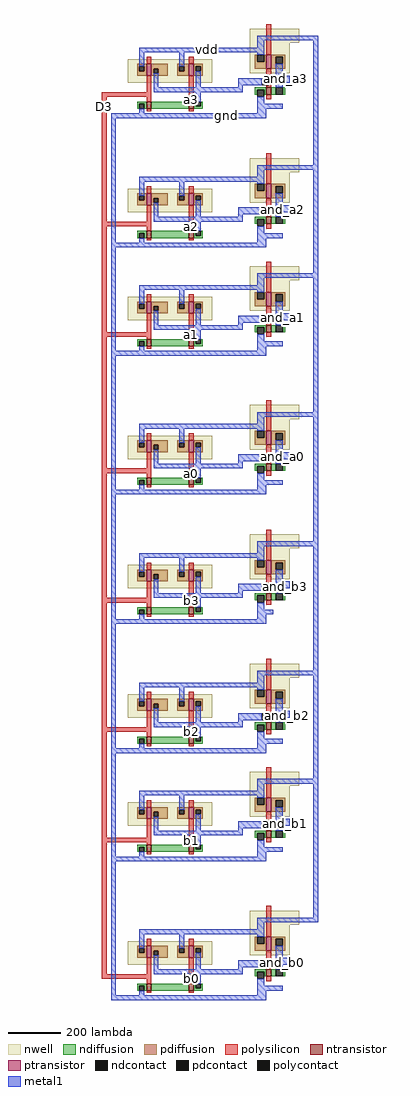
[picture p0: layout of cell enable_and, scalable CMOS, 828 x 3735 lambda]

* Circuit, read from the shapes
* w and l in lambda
.subckt enable_and D3 a0 a1 a2 a3 and_a0 and_a1 and_a2 and_a3 and_b0 and_b1 and_b2 and_b3 b0 b1 b2 b3 gnd vdd
M1 n1 D3 gnd VSUBS nfet w=27 l=18
M2 n2 D3 gnd VSUBS nfet w=27 l=18
M3 n3 D3 gnd VSUBS nfet w=27 l=18
M4 n4 D3 gnd VSUBS nfet w=27 l=18
M5 n5 D3 gnd VSUBS nfet w=27 l=18
M6 n6 D3 gnd VSUBS nfet w=27 l=18
M7 n7 D3 gnd VSUBS nfet w=27 l=18
M8 n8 D3 gnd VSUBS nfet w=27 l=18
M9 n9 b0 n1 VSUBS nfet w=27 l=18
M10 n10 b1 n2 VSUBS nfet w=27 l=18
M11 n11 b2 n3 VSUBS nfet w=27 l=18
M12 n12 b3 n4 VSUBS nfet w=27 l=18
M13 n13 a0 n5 VSUBS nfet w=27 l=18
M14 n14 a1 n6 VSUBS nfet w=27 l=18
M15 n15 a2 n7 VSUBS nfet w=27 l=18
M16 n16 a3 n8 VSUBS nfet w=27 l=18
M17 and_b0 n9 gnd VSUBS nfet w=27 l=18
M18 and_b1 n10 gnd VSUBS nfet w=27 l=18
M19 and_b2 n11 gnd VSUBS nfet w=27 l=18
M20 and_b3 n12 gnd VSUBS nfet w=27 l=18
M21 and_a0 n13 gnd VSUBS nfet w=27 l=18
M22 and_a1 n14 gnd VSUBS nfet w=27 l=18
M23 and_a2 n15 gnd VSUBS nfet w=27 l=18
M24 and_a3 n16 gnd VSUBS nfet w=27 l=18
M25 n9 D3 vdd n17 pfet w=45 l=18
M26 n10 D3 vdd n18 pfet w=45 l=18
M27 n11 D3 vdd n19 pfet w=45 l=18
M28 n12 D3 vdd n20 pfet w=45 l=18
M29 n13 D3 vdd n21 pfet w=45 l=18
M30 n14 D3 vdd n22 pfet w=45 l=18
M31 n15 D3 vdd n23 pfet w=45 l=18
M32 n16 D3 vdd n24 pfet w=45 l=18
M33 n9 b0 vdd n17 pfet w=45 l=18
M34 n10 b1 vdd n18 pfet w=45 l=18
M35 n11 b2 vdd n19 pfet w=45 l=18
M36 n12 b3 vdd n20 pfet w=45 l=18
M37 n13 a0 vdd n21 pfet w=45 l=18
M38 n14 a1 vdd n22 pfet w=45 l=18
M39 n15 a2 vdd n23 pfet w=45 l=18
M40 n16 a3 vdd n24 pfet w=45 l=18
M41 and_b0 n9 vdd n25 pfet w=54 l=18
M42 and_b1 n10 vdd n26 pfet w=54 l=18
M43 and_b2 n11 vdd n27 pfet w=54 l=18
M44 and_b3 n12 vdd n28 pfet w=54 l=18
M45 and_a0 n13 vdd n29 pfet w=54 l=18
M46 and_a1 n14 vdd n30 pfet w=54 l=18
M47 and_a2 n15 vdd n31 pfet w=54 l=18
M48 and_a3 n16 vdd n32 pfet w=54 l=18
.ends

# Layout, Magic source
magic
tech scmos
magscale 9 1
<< nwell >>
rect 46 83 67 89
rect -6 66 30 76
rect 46 71 63 83
rect 46 70 53 71
rect 55 70 63 71
rect 46 28 67 34
rect -6 11 30 21
rect 46 16 63 28
rect 46 15 53 16
rect 55 15 63 16
rect 46 -18 67 -12
rect -6 -35 30 -25
rect 46 -30 63 -18
rect 46 -31 53 -30
rect 55 -31 63 -30
rect 46 -77 67 -71
rect -6 -94 30 -84
rect 46 -89 63 -77
rect 46 -90 53 -89
rect 55 -90 63 -89
rect 46 -132 67 -126
rect -6 -149 30 -139
rect 46 -144 63 -132
rect 46 -145 53 -144
rect 55 -145 63 -144
rect 46 -187 67 -181
rect -6 -204 30 -194
rect 46 -199 63 -187
rect 46 -200 53 -199
rect 55 -200 63 -199
rect 46 -233 67 -227
rect -6 -250 30 -240
rect 46 -245 63 -233
rect 46 -246 53 -245
rect 55 -246 63 -245
rect 46 -292 67 -286
rect -6 -309 30 -299
rect 46 -304 63 -292
rect 46 -305 53 -304
rect 55 -305 63 -304
<< ntransistor >>
rect 53 61 55 64
rect 2 55 4 58
rect 20 55 22 58
rect 53 6 55 9
rect 2 0 4 3
rect 20 0 22 3
rect 53 -40 55 -37
rect 2 -46 4 -43
rect 20 -46 22 -43
rect 53 -99 55 -96
rect 2 -105 4 -102
rect 20 -105 22 -102
rect 53 -154 55 -151
rect 2 -160 4 -157
rect 20 -160 22 -157
rect 53 -209 55 -206
rect 2 -215 4 -212
rect 20 -215 22 -212
rect 53 -255 55 -252
rect 2 -261 4 -258
rect 20 -261 22 -258
rect 53 -314 55 -311
rect 2 -320 4 -317
rect 20 -320 22 -317
<< ptransistor >>
rect 2 69 4 74
rect 20 69 22 74
rect 53 72 55 78
rect 2 14 4 19
rect 20 14 22 19
rect 53 17 55 23
rect 2 -32 4 -27
rect 20 -32 22 -27
rect 53 -29 55 -23
rect 2 -91 4 -86
rect 20 -91 22 -86
rect 53 -88 55 -82
rect 2 -146 4 -141
rect 20 -146 22 -141
rect 53 -143 55 -137
rect 2 -201 4 -196
rect 20 -201 22 -196
rect 53 -198 55 -192
rect 2 -247 4 -242
rect 20 -247 22 -242
rect 53 -244 55 -238
rect 2 -306 4 -301
rect 20 -306 22 -301
rect 53 -303 55 -297
<< ndiffusion >>
rect 48 63 53 64
rect 48 61 49 63
rect 52 61 53 63
rect 55 61 57 64
rect 60 61 61 64
rect -2 57 2 58
rect -2 55 -1 57
rect 1 55 2 57
rect 4 55 20 58
rect 22 56 23 58
rect 25 56 26 58
rect 22 55 26 56
rect 48 8 53 9
rect 48 6 49 8
rect 52 6 53 8
rect 55 6 57 9
rect 60 6 61 9
rect -2 2 2 3
rect -2 0 -1 2
rect 1 0 2 2
rect 4 0 20 3
rect 22 1 23 3
rect 25 1 26 3
rect 22 0 26 1
rect 48 -38 53 -37
rect 48 -40 49 -38
rect 52 -40 53 -38
rect 55 -40 57 -37
rect 60 -40 61 -37
rect -2 -44 2 -43
rect -2 -46 -1 -44
rect 1 -46 2 -44
rect 4 -46 20 -43
rect 22 -45 23 -43
rect 25 -45 26 -43
rect 22 -46 26 -45
rect 48 -97 53 -96
rect 48 -99 49 -97
rect 52 -99 53 -97
rect 55 -99 57 -96
rect 60 -99 61 -96
rect -2 -103 2 -102
rect -2 -105 -1 -103
rect 1 -105 2 -103
rect 4 -105 20 -102
rect 22 -104 23 -102
rect 25 -104 26 -102
rect 22 -105 26 -104
rect 48 -152 53 -151
rect 48 -154 49 -152
rect 52 -154 53 -152
rect 55 -154 57 -151
rect 60 -154 61 -151
rect -2 -158 2 -157
rect -2 -160 -1 -158
rect 1 -160 2 -158
rect 4 -160 20 -157
rect 22 -159 23 -157
rect 25 -159 26 -157
rect 22 -160 26 -159
rect 48 -207 53 -206
rect 48 -209 49 -207
rect 52 -209 53 -207
rect 55 -209 57 -206
rect 60 -209 61 -206
rect -2 -213 2 -212
rect -2 -215 -1 -213
rect 1 -215 2 -213
rect 4 -215 20 -212
rect 22 -214 23 -212
rect 25 -214 26 -212
rect 22 -215 26 -214
rect 48 -253 53 -252
rect 48 -255 49 -253
rect 52 -255 53 -253
rect 55 -255 57 -252
rect 60 -255 61 -252
rect -2 -259 2 -258
rect -2 -261 -1 -259
rect 1 -261 2 -259
rect 4 -261 20 -258
rect 22 -260 23 -258
rect 25 -260 26 -258
rect 22 -261 26 -260
rect 48 -312 53 -311
rect 48 -314 49 -312
rect 52 -314 53 -312
rect 55 -314 57 -311
rect 60 -314 61 -311
rect -2 -318 2 -317
rect -2 -320 -1 -318
rect 1 -320 2 -318
rect 4 -320 20 -317
rect 22 -319 23 -317
rect 25 -319 26 -317
rect 22 -320 26 -319
<< pdiffusion >>
rect 48 75 49 78
rect 52 75 53 78
rect -2 73 2 74
rect -2 71 -1 73
rect 1 71 2 73
rect -2 69 2 71
rect 4 72 11 74
rect 4 70 5 72
rect 7 70 11 72
rect 4 69 11 70
rect 15 73 20 74
rect 15 71 16 73
rect 18 71 20 73
rect 15 69 20 71
rect 22 73 26 74
rect 22 71 23 73
rect 25 71 26 73
rect 48 72 53 75
rect 55 77 61 78
rect 55 74 57 77
rect 60 74 61 77
rect 55 72 61 74
rect 22 69 26 71
rect 48 20 49 23
rect 52 20 53 23
rect -2 18 2 19
rect -2 16 -1 18
rect 1 16 2 18
rect -2 14 2 16
rect 4 17 11 19
rect 4 15 5 17
rect 7 15 11 17
rect 4 14 11 15
rect 15 18 20 19
rect 15 16 16 18
rect 18 16 20 18
rect 15 14 20 16
rect 22 18 26 19
rect 22 16 23 18
rect 25 16 26 18
rect 48 17 53 20
rect 55 22 61 23
rect 55 19 57 22
rect 60 19 61 22
rect 55 17 61 19
rect 22 14 26 16
rect 48 -26 49 -23
rect 52 -26 53 -23
rect -2 -28 2 -27
rect -2 -30 -1 -28
rect 1 -30 2 -28
rect -2 -32 2 -30
rect 4 -29 11 -27
rect 4 -31 5 -29
rect 7 -31 11 -29
rect 4 -32 11 -31
rect 15 -28 20 -27
rect 15 -30 16 -28
rect 18 -30 20 -28
rect 15 -32 20 -30
rect 22 -28 26 -27
rect 22 -30 23 -28
rect 25 -30 26 -28
rect 48 -29 53 -26
rect 55 -24 61 -23
rect 55 -27 57 -24
rect 60 -27 61 -24
rect 55 -29 61 -27
rect 22 -32 26 -30
rect 48 -85 49 -82
rect 52 -85 53 -82
rect -2 -87 2 -86
rect -2 -89 -1 -87
rect 1 -89 2 -87
rect -2 -91 2 -89
rect 4 -88 11 -86
rect 4 -90 5 -88
rect 7 -90 11 -88
rect 4 -91 11 -90
rect 15 -87 20 -86
rect 15 -89 16 -87
rect 18 -89 20 -87
rect 15 -91 20 -89
rect 22 -87 26 -86
rect 22 -89 23 -87
rect 25 -89 26 -87
rect 48 -88 53 -85
rect 55 -83 61 -82
rect 55 -86 57 -83
rect 60 -86 61 -83
rect 55 -88 61 -86
rect 22 -91 26 -89
rect 48 -140 49 -137
rect 52 -140 53 -137
rect -2 -142 2 -141
rect -2 -144 -1 -142
rect 1 -144 2 -142
rect -2 -146 2 -144
rect 4 -143 11 -141
rect 4 -145 5 -143
rect 7 -145 11 -143
rect 4 -146 11 -145
rect 15 -142 20 -141
rect 15 -144 16 -142
rect 18 -144 20 -142
rect 15 -146 20 -144
rect 22 -142 26 -141
rect 22 -144 23 -142
rect 25 -144 26 -142
rect 48 -143 53 -140
rect 55 -138 61 -137
rect 55 -141 57 -138
rect 60 -141 61 -138
rect 55 -143 61 -141
rect 22 -146 26 -144
rect 48 -195 49 -192
rect 52 -195 53 -192
rect -2 -197 2 -196
rect -2 -199 -1 -197
rect 1 -199 2 -197
rect -2 -201 2 -199
rect 4 -198 11 -196
rect 4 -200 5 -198
rect 7 -200 11 -198
rect 4 -201 11 -200
rect 15 -197 20 -196
rect 15 -199 16 -197
rect 18 -199 20 -197
rect 15 -201 20 -199
rect 22 -197 26 -196
rect 22 -199 23 -197
rect 25 -199 26 -197
rect 48 -198 53 -195
rect 55 -193 61 -192
rect 55 -196 57 -193
rect 60 -196 61 -193
rect 55 -198 61 -196
rect 22 -201 26 -199
rect 48 -241 49 -238
rect 52 -241 53 -238
rect -2 -243 2 -242
rect -2 -245 -1 -243
rect 1 -245 2 -243
rect -2 -247 2 -245
rect 4 -244 11 -242
rect 4 -246 5 -244
rect 7 -246 11 -244
rect 4 -247 11 -246
rect 15 -243 20 -242
rect 15 -245 16 -243
rect 18 -245 20 -243
rect 15 -247 20 -245
rect 22 -243 26 -242
rect 22 -245 23 -243
rect 25 -245 26 -243
rect 48 -244 53 -241
rect 55 -239 61 -238
rect 55 -242 57 -239
rect 60 -242 61 -239
rect 55 -244 61 -242
rect 22 -247 26 -245
rect 48 -300 49 -297
rect 52 -300 53 -297
rect -2 -302 2 -301
rect -2 -304 -1 -302
rect 1 -304 2 -302
rect -2 -306 2 -304
rect 4 -303 11 -301
rect 4 -305 5 -303
rect 7 -305 11 -303
rect 4 -306 11 -305
rect 15 -302 20 -301
rect 15 -304 16 -302
rect 18 -304 20 -302
rect 15 -306 20 -304
rect 22 -302 26 -301
rect 22 -304 23 -302
rect 25 -304 26 -302
rect 48 -303 53 -300
rect 55 -298 61 -297
rect 55 -301 57 -298
rect 60 -301 61 -298
rect 55 -303 61 -301
rect 22 -306 26 -304
<< ndcontact >>
rect 49 60 52 63
rect 57 61 60 64
rect -1 55 1 57
rect 23 56 25 58
rect 49 5 52 8
rect 57 6 60 9
rect -1 0 1 2
rect 23 1 25 3
rect 49 -41 52 -38
rect 57 -40 60 -37
rect -1 -46 1 -44
rect 23 -45 25 -43
rect 49 -100 52 -97
rect 57 -99 60 -96
rect -1 -105 1 -103
rect 23 -104 25 -102
rect 49 -155 52 -152
rect 57 -154 60 -151
rect -1 -160 1 -158
rect 23 -159 25 -157
rect 49 -210 52 -207
rect 57 -209 60 -206
rect -1 -215 1 -213
rect 23 -214 25 -212
rect 49 -256 52 -253
rect 57 -255 60 -252
rect -1 -261 1 -259
rect 23 -260 25 -258
rect 49 -315 52 -312
rect 57 -314 60 -311
rect -1 -320 1 -318
rect 23 -319 25 -317
<< pdcontact >>
rect 49 75 52 78
rect -1 71 1 73
rect 5 70 7 72
rect 16 71 18 73
rect 23 71 25 73
rect 57 74 60 77
rect 49 20 52 23
rect -1 16 1 18
rect 5 15 7 17
rect 16 16 18 18
rect 23 16 25 18
rect 57 19 60 22
rect 49 -26 52 -23
rect -1 -30 1 -28
rect 5 -31 7 -29
rect 16 -30 18 -28
rect 23 -30 25 -28
rect 57 -27 60 -24
rect 49 -85 52 -82
rect -1 -89 1 -87
rect 5 -90 7 -88
rect 16 -89 18 -87
rect 23 -89 25 -87
rect 57 -86 60 -83
rect 49 -140 52 -137
rect -1 -144 1 -142
rect 5 -145 7 -143
rect 16 -144 18 -142
rect 23 -144 25 -142
rect 57 -141 60 -138
rect 49 -195 52 -192
rect -1 -199 1 -197
rect 5 -200 7 -198
rect 16 -199 18 -197
rect 23 -199 25 -197
rect 57 -196 60 -193
rect 49 -241 52 -238
rect -1 -245 1 -243
rect 5 -246 7 -244
rect 16 -245 18 -243
rect 23 -245 25 -243
rect 57 -242 60 -239
rect 49 -300 52 -297
rect -1 -304 1 -302
rect 5 -305 7 -303
rect 16 -304 18 -302
rect 23 -304 25 -302
rect 57 -301 60 -298
<< polysilicon >>
rect 53 78 55 91
rect 2 74 4 77
rect 20 74 22 77
rect 2 62 4 69
rect -17 60 4 62
rect -17 7 -15 60
rect 2 58 4 60
rect 20 58 22 69
rect 53 68 55 72
rect 54 65 55 68
rect 53 64 55 65
rect 53 59 55 61
rect 2 54 4 55
rect 20 54 22 55
rect 53 23 55 36
rect 2 19 4 22
rect 20 19 22 22
rect 2 7 4 14
rect -17 5 4 7
rect -17 -40 -15 5
rect 2 3 4 5
rect 20 3 22 14
rect 53 13 55 17
rect 54 10 55 13
rect 53 9 55 10
rect 53 4 55 6
rect 2 -1 4 0
rect 20 -1 22 0
rect 53 -23 55 -10
rect 2 -27 4 -24
rect 20 -27 22 -24
rect 2 -40 4 -32
rect -17 -42 4 -40
rect -17 -98 -15 -42
rect 2 -43 4 -42
rect 20 -43 22 -32
rect 53 -33 55 -29
rect 54 -36 55 -33
rect 53 -37 55 -36
rect 53 -42 55 -40
rect 2 -47 4 -46
rect 20 -47 22 -46
rect 53 -82 55 -69
rect 2 -86 4 -83
rect 20 -86 22 -83
rect 2 -98 4 -91
rect -17 -100 4 -98
rect -17 -153 -15 -100
rect 2 -102 4 -100
rect 20 -102 22 -91
rect 53 -92 55 -88
rect 54 -95 55 -92
rect 53 -96 55 -95
rect 53 -101 55 -99
rect 2 -106 4 -105
rect 20 -106 22 -105
rect 53 -137 55 -124
rect 2 -141 4 -138
rect 20 -141 22 -138
rect 2 -153 4 -146
rect -17 -155 4 -153
rect -17 -208 -15 -155
rect 2 -157 4 -155
rect 20 -157 22 -146
rect 53 -147 55 -143
rect 54 -150 55 -147
rect 53 -151 55 -150
rect 53 -156 55 -154
rect 2 -161 4 -160
rect 20 -161 22 -160
rect 53 -192 55 -179
rect 2 -196 4 -193
rect 20 -196 22 -193
rect 2 -208 4 -201
rect -17 -210 4 -208
rect -17 -255 -15 -210
rect 2 -212 4 -210
rect 20 -212 22 -201
rect 53 -202 55 -198
rect 54 -205 55 -202
rect 53 -206 55 -205
rect 53 -211 55 -209
rect 2 -216 4 -215
rect 20 -216 22 -215
rect 53 -238 55 -225
rect 2 -242 4 -239
rect 20 -242 22 -239
rect 2 -255 4 -247
rect -17 -257 4 -255
rect -17 -313 -15 -257
rect 2 -258 4 -257
rect 20 -258 22 -247
rect 53 -248 55 -244
rect 54 -251 55 -248
rect 53 -252 55 -251
rect 53 -257 55 -255
rect 2 -262 4 -261
rect 20 -262 22 -261
rect 53 -297 55 -284
rect 2 -301 4 -298
rect 20 -301 22 -298
rect 2 -313 4 -306
rect -17 -315 4 -313
rect 2 -317 4 -315
rect 20 -317 22 -306
rect 53 -307 55 -303
rect 54 -310 55 -307
rect 53 -311 55 -310
rect 53 -316 55 -314
rect 2 -321 4 -320
rect 20 -321 22 -320
<< polycontact >>
rect 51 65 54 68
rect 51 10 54 13
rect 51 -36 54 -33
rect 51 -95 54 -92
rect 51 -150 54 -147
rect 51 -205 54 -202
rect 51 -251 54 -248
rect 51 -310 54 -307
<< metal1 >>
rect 49 84 75 86
rect 49 81 52 84
rect -1 79 52 81
rect -1 73 1 79
rect 16 73 18 79
rect 49 78 52 79
rect 5 64 7 70
rect 23 64 25 71
rect 57 69 60 74
rect 41 65 51 68
rect 57 66 63 69
rect 41 64 43 65
rect 5 62 43 64
rect 57 64 60 66
rect 23 58 25 62
rect 49 57 52 60
rect -1 53 1 55
rect 49 55 60 57
rect 49 53 53 55
rect -13 51 53 53
rect -13 -2 -11 51
rect 73 31 75 84
rect 49 29 75 31
rect 49 26 52 29
rect -1 24 52 26
rect -1 18 1 24
rect 16 18 18 24
rect 49 23 52 24
rect 5 9 7 15
rect 23 9 25 16
rect 57 14 60 19
rect 41 10 51 13
rect 57 11 63 14
rect 41 9 43 10
rect 5 7 43 9
rect 57 9 60 11
rect 23 3 25 7
rect 49 2 52 5
rect -1 -2 1 0
rect 49 0 60 2
rect 49 -2 53 0
rect -13 -4 53 -2
rect -13 -48 -11 -4
rect 73 -15 75 29
rect 49 -17 75 -15
rect 49 -20 52 -17
rect -1 -22 52 -20
rect -1 -28 1 -22
rect 16 -28 18 -22
rect 49 -23 52 -22
rect 5 -37 7 -31
rect 23 -37 25 -30
rect 57 -32 60 -27
rect 41 -36 51 -33
rect 57 -35 63 -32
rect 41 -37 43 -36
rect 5 -39 43 -37
rect 57 -37 60 -35
rect 23 -43 25 -39
rect 49 -44 52 -41
rect -1 -48 1 -46
rect 49 -46 60 -44
rect 49 -48 53 -46
rect -13 -50 53 -48
rect -13 -107 -11 -50
rect 73 -74 75 -17
rect 49 -76 75 -74
rect 49 -79 52 -76
rect -1 -81 52 -79
rect -1 -87 1 -81
rect 16 -87 18 -81
rect 49 -82 52 -81
rect 5 -96 7 -90
rect 23 -96 25 -89
rect 57 -91 60 -86
rect 41 -95 51 -92
rect 57 -94 63 -91
rect 41 -96 43 -95
rect 5 -98 43 -96
rect 57 -96 60 -94
rect 23 -102 25 -98
rect 49 -103 52 -100
rect -1 -107 1 -105
rect 49 -105 60 -103
rect 49 -107 53 -105
rect -13 -109 53 -107
rect -13 -162 -11 -109
rect 73 -129 75 -76
rect 49 -131 75 -129
rect 49 -134 52 -131
rect -1 -136 52 -134
rect -1 -142 1 -136
rect 16 -142 18 -136
rect 49 -137 52 -136
rect 5 -151 7 -145
rect 23 -151 25 -144
rect 57 -146 60 -141
rect 41 -150 51 -147
rect 57 -149 63 -146
rect 41 -151 43 -150
rect 5 -153 43 -151
rect 57 -151 60 -149
rect 23 -157 25 -153
rect 49 -158 52 -155
rect -1 -162 1 -160
rect 49 -160 56 -158
rect 49 -162 53 -160
rect -13 -164 53 -162
rect -13 -217 -11 -164
rect 73 -184 75 -131
rect 49 -186 75 -184
rect 49 -189 52 -186
rect -1 -191 52 -189
rect -1 -197 1 -191
rect 16 -197 18 -191
rect 49 -192 52 -191
rect 5 -206 7 -200
rect 23 -206 25 -199
rect 57 -201 60 -196
rect 41 -205 51 -202
rect 57 -204 63 -201
rect 41 -206 43 -205
rect 5 -208 43 -206
rect 57 -206 60 -204
rect 23 -212 25 -208
rect 49 -213 52 -210
rect -1 -217 1 -215
rect 49 -215 60 -213
rect 49 -217 53 -215
rect -13 -219 53 -217
rect -13 -263 -11 -219
rect 73 -230 75 -186
rect 49 -232 75 -230
rect 49 -235 52 -232
rect -1 -237 52 -235
rect -1 -243 1 -237
rect 16 -243 18 -237
rect 49 -238 52 -237
rect 5 -252 7 -246
rect 23 -252 25 -245
rect 57 -247 60 -242
rect 41 -251 51 -248
rect 57 -250 63 -247
rect 41 -252 43 -251
rect 5 -254 43 -252
rect 57 -252 60 -250
rect 23 -258 25 -254
rect 49 -259 52 -256
rect -1 -263 1 -261
rect 49 -261 60 -259
rect 49 -263 53 -261
rect -13 -265 53 -263
rect -13 -322 -11 -265
rect 73 -289 75 -232
rect 49 -291 75 -289
rect 49 -294 52 -291
rect -1 -296 52 -294
rect -1 -302 1 -296
rect 16 -302 18 -296
rect 49 -297 52 -296
rect 5 -311 7 -305
rect 23 -311 25 -304
rect 57 -306 60 -301
rect 41 -310 51 -307
rect 57 -309 63 -306
rect 41 -311 43 -310
rect 5 -313 43 -311
rect 57 -311 60 -309
rect 23 -317 25 -313
rect 49 -318 52 -315
rect -1 -322 1 -320
rect 49 -320 60 -318
rect 49 -322 53 -320
rect -13 -324 53 -322
<< labels >>
rlabel polysilicon 21 59 21 59 1 a3
rlabel polysilicon 21 5 21 5 1 a2
rlabel polysilicon 21 -41 21 -41 1 a1
rlabel polysilicon 21 -100 21 -100 1 a0
rlabel metal1 60 -93 60 -93 1 and_a0
rlabel metal1 60 -34 60 -34 1 and_a1
rlabel metal1 60 12 60 12 1 and_a2
rlabel metal1 61 68 61 68 1 and_a3
rlabel polysilicon -16 56 -16 56 1 D3
rlabel metal1 28 80 28 80 1 vdd
rlabel metal1 36 52 36 52 1 gnd
rlabel polysilicon 21 -154 21 -154 1 b3
rlabel polysilicon 21 -210 21 -210 1 b2
rlabel polysilicon 21 -256 21 -256 1 b1
rlabel polysilicon 21 -315 21 -315 1 b0
rlabel metal1 60 -308 60 -308 1 and_b0
rlabel metal1 61 -249 61 -249 1 and_b1
rlabel metal1 62 -203 62 -203 1 and_b2
rlabel metal1 61 -148 61 -148 1 and_b3
<< end >>
